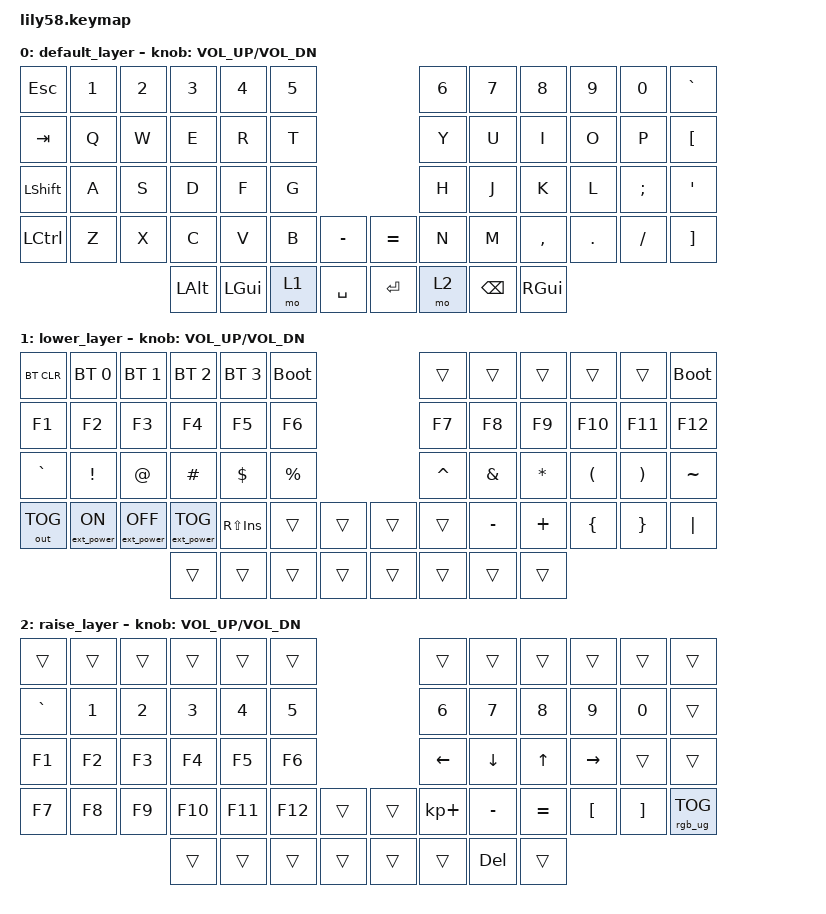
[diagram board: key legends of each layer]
/*
 * Copyright (c) 2020 The ZMK Contributors
 *
 * SPDX-License-Identifier: MIT
 */

#include <behaviors.dtsi>
#include <dt-bindings/zmk/bt.h>
#include <dt-bindings/zmk/ext_power.h>
#include <dt-bindings/zmk/keys.h>
#include <dt-bindings/zmk/rgb.h>
#include <dt-bindings/zmk/outputs.h>

/ {
    keymap {
        compatible = "zmk,keymap";

        default_layer {
            // ------------------------------------------------------------------------------------------------------------
            // |  ESC  |  1  |  2  |  3   |  4   |  5   |                   |  6   |  7    |  8    |  9   |   0   |   `   |
            // |  TAB  |  Q  |  W  |  E   |  R   |  T   |                   |  Y   |  U    |  I    |  O   |   P   |  "["  |
            // | SHIFT |  A  |  S  |  D   |  F   |  G   |                   |  H   |  J    |  K    |  L   |   ;   |   '   |
            // |  CTRL |  Z  |  X  |  C   |  V   |  B   |    -   |  |  +    |  N   |  M    |  ,    |  .   |   /   |  "]"  |
            //                     | ALT  | GUI  | LOWER|  SPACE |  | ENTER | RAISE| BSPC  | GUI   |

            bindings = <
&kp ESC    &kp N1  &kp N2  &kp N3    &kp N4    &kp N5                          &kp N6  &kp N7    &kp N8     &kp N9   &kp N0    &kp GRAVE
&kp TAB    &kp Q   &kp W   &kp E     &kp R     &kp T                           &kp Y   &kp U     &kp I      &kp O    &kp P     &kp LBKT
&kp LSHFT  &kp A   &kp S   &kp D     &kp F     &kp G                           &kp H   &kp J     &kp K      &kp L    &kp SEMI  &kp SQT
&kp LCTRL  &kp Z   &kp X   &kp C     &kp V     &kp B   &kp MINUS    &kp EQUAL  &kp N   &kp M     &kp COMMA  &kp DOT  &kp FSLH  &kp RBKT
                           &kp LALT  &kp LGUI  &mo 1   &kp SPACE    &kp RET    &mo 2   &kp BSPC  &kp RGUI
            >;

            sensor-bindings = <&inc_dec_kp C_VOL_UP C_VOL_DN>;
        };

        lower_layer {
            // ------------------------------------------------------------------------------------------------------------
            // | BTCLR | BT1 | BT2 |  BT3 |  BT4 |RST_BL|                   |      |       |       |      |       | RST_BL|
            // |  F1   |  F2 |  F3 |  F4  |  F5  |  F6  |                   |  F7  |  F8   |  F9   |  F10 |  F11  |  F12  |
            // |   `   |  !  |  @  |  #   |  $   |  %   |                   |  ^   |  &    |  *    |  (   |   )   |   ~   |
            // |       |     |     |      |      |      |        |  |       |      |  _    |  +    |  {   |   }   |  "|"  |
            //                     |      |      |      |        |  |       |      |       |       |

            bindings = <
&bt BT_CLR  &bt BT_SEL 0      &bt BT_SEL 1       &bt BT_SEL 2       &bt BT_SEL 3  &bootloader                    &trans     &trans     &trans     &trans    &trans    &bootloader
&kp F1      &kp F2            &kp F3             &kp F4             &kp F5        &kp F6                         &kp F7     &kp F8     &kp F9     &kp F10   &kp F11   &kp F12
&kp GRAVE   &kp EXCL          &kp AT             &kp HASH           &kp DOLLAR    &kp PRCNT                      &kp CARET  &kp AMPS   &kp ASTRK  &kp LPAR  &kp RPAR  &kp TILDE
&out OUT_TOG &ext_power EP_ON  &ext_power EP_OFF  &ext_power EP_TOG  &kp RS(INS)   &trans       &trans    &trans  &trans     &kp MINUS  &kp PLUS   &kp LBRC  &kp RBRC  &kp PIPE
                                                 &trans             &trans        &trans       &trans    &trans  &trans     &trans     &trans
            >;

            sensor-bindings = <&inc_dec_kp C_VOL_UP C_VOL_DN>;
        };

        raise_layer {
            // ------------------------------------------------------------------------------------------------------------
            // |       |     |     |      |      |      |                   |      |       |       |      |       |       |
            // |   `   |  1  |  2  |  3   |  4   |  5   |                   |  6   |   7   |   8   |  9   |   0   |       |
            // |   F1  |  F2 |  F3 |  F4  |  F5  |  F6  |                   |      |   <-  |   v   |  ^   |  ->   |       |
            // |   F7  |  F8 |  F9 |  F10 |  F11 |  F12 |        |  |       |  +   |   -   |   =   |  [   |   ]   |   \   |
            //                     |      |      |      |        |  |       |      |       |       |

            bindings = <
&trans     &trans  &trans  &trans   &trans   &trans                     &trans          &trans          &trans        &trans           &trans    &trans
&kp GRAVE  &kp N1  &kp N2  &kp N3   &kp N4   &kp N5                     &kp N6          &kp N7          &kp N8        &kp N9           &kp N0    &trans
&kp F1     &kp F2  &kp F3  &kp F4   &kp F5   &kp F6                     &kp LEFT_ARROW  &kp DOWN_ARROW  &kp UP_ARROW  &kp RIGHT_ARROW  &trans    &trans
&kp F7     &kp F8  &kp F9  &kp F10  &kp F11  &kp F12  &trans    &trans  &kp KP_PLUS     &kp MINUS       &kp EQUAL     &kp LBKT         &kp RBKT  &rgb_ug RGB_TOG
                           &trans   &trans   &trans   &trans    &trans  &trans          &kp DEL         &trans
            >;

            sensor-bindings = <&inc_dec_kp C_VOL_UP C_VOL_DN>;
        };
    };
};
